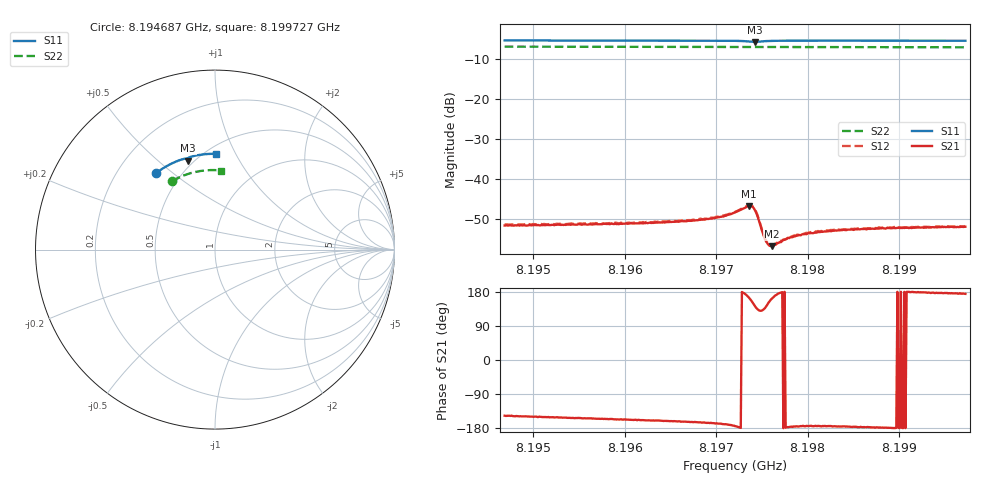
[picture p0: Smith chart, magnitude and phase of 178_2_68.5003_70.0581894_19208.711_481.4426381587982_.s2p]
#  HZ  S  RI  R  50.00
! Rohde & Schwarz Vector Network Analyzer
! Rohde-Schwarz,ZNB20-2Port,1311601062101988,3.16
! Created: UTC 3/20/2024, 5:11:43 PM
! freq[Hz]  re:S11  im:S11  re:S21  im:S21  re:S12  im:S12  re:S22  im:S22
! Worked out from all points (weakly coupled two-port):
!   401 points, 8.194687 GHz to 8.199727 GHz, reference 50 ohm
!   highest |S21| = -46.81 dB at 8.197358 GHz (marker M1); lowest = -56.9 dB at 8.19761 GHz (marker M2)
!   lowest |S11| = -5.7 dB at 8.197421 GHz (marker M3), VSWR 3.14, Z = 23.4 + j31.6 ohm
!   |S11| at or under -10 dB: nowhere
!   |S22| runs from -7.1 to -6.9 dB; largest |S21 - S12| = 0.00025
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8.1946867e9  -0.3267 0.4276  -0.00218 -0.00142  -0.00228 -0.00138  -0.2389 0.3817
8.1955309e9  -0.2768 0.4606  -0.00238 -0.00118  -0.00249 -0.00112  -0.1968 0.4034
8.1963751e9  -0.2232 0.4879  -0.00268 -0.000981  -0.00276 -0.000867  -0.1527 0.4207
8.1966649e9  -0.2036 0.4959  -0.0028 -0.000876  -0.0029 -0.000778  -0.1371 0.4254
8.1968791e9  -0.1886 0.5013  -0.00299 -0.000774  -0.0031 -0.000677  -0.1254 0.4287
8.1970807e9  -0.1734 0.5056  -0.0033 -0.000618  -0.00343 -0.00051  -0.1143 0.4314
8.1972067e9  -0.1624 0.5072  -0.00377 -0.000368  -0.00383 -0.000267  -0.1073 0.4329
8.1973579e9  -0.1481 0.5011  -0.00441 0.00119  -0.0044 0.00139  -0.0989 0.4344
8.1973957e9  -0.148 0.4967  -0.00397 0.00204  -0.00397 0.00224  -0.097 0.4347
8.1974209e9  -0.1501 0.4946  -0.00331 0.00245  -0.00333 0.00264  -0.0955 0.4349
8.1974461e9  -0.153 0.4945  -0.00255 0.0025  -0.00249 0.00268  -0.0943 0.4352
8.1975217e9  -0.1558 0.5027  -0.00133 0.00138  -0.00131 0.00147  -0.0903 0.4362
8.1975469e9  -0.1546 0.5054  -0.00128 0.00103  -0.0013 0.00108  -0.0888 0.4363
8.1975721e9  -0.1526 0.5075  -0.0013 0.000725  -0.00129 0.000811  -0.0875 0.4367
8.1975973e9  -0.1508 0.5094  -0.00134 0.000515  -0.00134 0.000607  -0.0861 0.4369
8.1976099e9  -0.1499 0.5101  -0.00136 0.000448  -0.00138 0.000523  -0.0854 0.437
8.1977989e9  -0.1345 0.5172  -0.0018 -9.55e-05  -0.00185 -1.63e-05  -0.0747 0.4388
8.1978619e9  -0.1297 0.5187  -0.00189 -0.000142  -0.00195 -8.93e-05  -0.0712 0.4394
8.1980509e9  -0.1154 0.5223  -0.00207 -0.000198  -0.00215 -0.000111  -0.0605 0.4407
8.1983785e9  -0.0919 0.5268  -0.00227 -0.000184  -0.00231 -9.98e-05  -0.0421 0.4422
8.1988951e9  -0.0552 0.5314  -0.00242 -6.04e-05  -0.00244 3.67e-05  -0.0128 0.443
8.1997267e9  0.00406 0.5333  -0.0025 0.00024  -0.00254 0.000346  0.0345 0.4402
